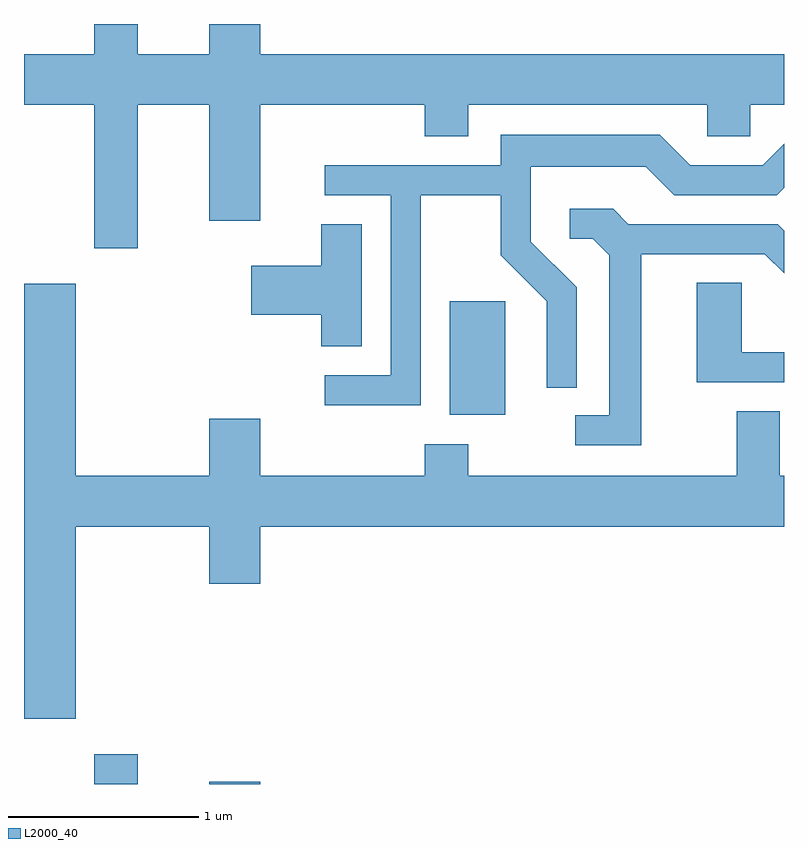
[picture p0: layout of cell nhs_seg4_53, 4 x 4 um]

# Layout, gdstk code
import gdstk
lib = gdstk.Library(unit=1e-6, precision=1e-09)
def R(c, l, rs):  # rectangles x0, y0, x1, y1
    for r in rs: c.add(gdstk.rectangle(r[:2], r[2:], *l))
def P(c, l, *ps):  # polygons
    for p in ps: c.add(gdstk.Polygon(p, *l))
L2000_40 = (2000, 40)

nhs_seg4_53 = lib.new_cell('nhs_seg4_53')
R(nhs_seg4_53, L2000_40, [(185.981,1359.982,186.209,1360.139), (186.586,1359.982,186.854,1359.994), (187.851,1361.926,188.144,1362.524)])
P(nhs_seg4_53, L2000_40, [(186.209,1363.556),(186.586,1363.556),(186.586,1362.946),(186.854,1362.946),(186.854,1363.556),(187.721,1363.556),(187.721,1363.391),(187.949,1363.391),(187.949,1363.556),(189.206,1363.556),(189.206,1363.391),(189.434,1363.391),(189.434,1363.556),(189.611,1363.556),(189.611,1363.824),(186.854,1363.824),(186.854,1363.982),(186.586,1363.982),(186.586,1363.824),(186.209,1363.824),(186.209,1363.982),(185.981,1363.982),(185.981,1363.824),(185.611,1363.824),(185.611,1363.556),(185.981,1363.556),(185.981,1362.801),(186.209,1362.801)],
  [(187.699,1363.081),(188.121,1363.081),(188.121,1362.764),(188.361,1362.524),(188.361,1362.068),(188.519,1362.068),(188.519,1362.597),(188.279,1362.837),(188.279,1363.231),(188.884,1363.231),(189.034,1363.081),(189.572,1363.081),(189.611,1363.12),(189.611,1363.351),(189.499,1363.239),(189.117,1363.239),(188.957,1363.399),(188.121,1363.399),(188.121,1363.239),(187.193,1363.239),(187.193,1363.081),(187.541,1363.081),(187.541,1362.134),(187.193,1362.134),(187.193,1361.976),(187.699,1361.976)],
  [(188.859,1362.771),(189.509,1362.771),(189.611,1362.669),(189.611,1362.895),(189.577,1362.929),(188.792,1362.929),(188.712,1363.009),(188.483,1363.009),(188.483,1362.851),(188.604,1362.851),(188.691,1362.764),(188.691,1361.924),(188.513,1361.924),(188.513,1361.766),(188.859,1361.766)],
  [(187.389,1362.929),(187.176,1362.929),(187.176,1362.709),(186.806,1362.709),(186.806,1362.451),(187.176,1362.451),(187.176,1362.286),(187.389,1362.286)],
  [(189.611,1362.254),(189.389,1362.254),(189.389,1362.619),(189.151,1362.619),(189.151,1362.096),(189.611,1362.096)],
  [(185.884,1361.336),(186.586,1361.336),(186.586,1361.036),(186.854,1361.036),(186.854,1361.336),(189.611,1361.336),(189.611,1361.604),(189.589,1361.604),(189.589,1361.944),(189.361,1361.944),(189.361,1361.604),(187.949,1361.604),(187.949,1361.769),(187.721,1361.769),(187.721,1361.604),(186.854,1361.604),(186.854,1361.904),(186.586,1361.904),(186.586,1361.604),(185.884,1361.604),(185.884,1362.614),(185.611,1362.614),(185.611,1360.326),(185.884,1360.326)])

lib.write_gds('nhs_seg4_53.gds')
